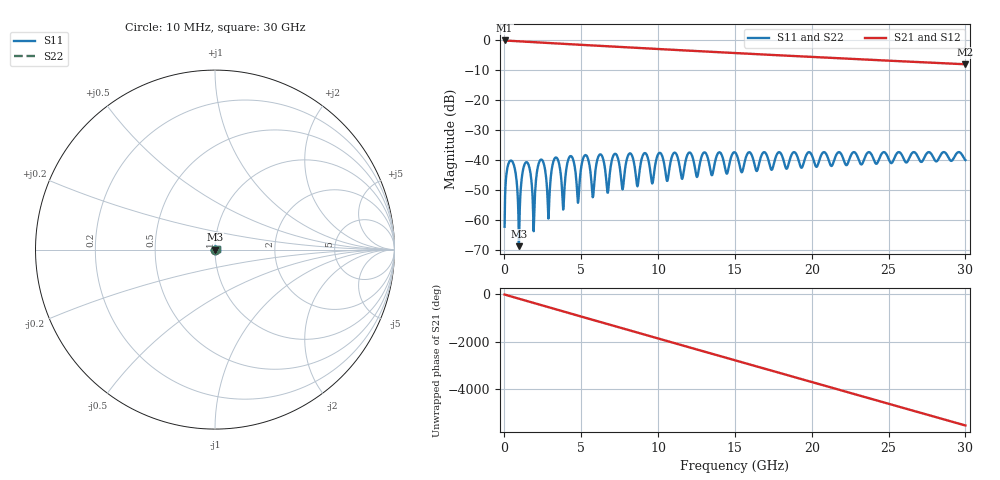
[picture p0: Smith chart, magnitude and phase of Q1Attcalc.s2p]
! Touchstone generated by fitter/viewer
# HZ S  RI R 5.000000e+001
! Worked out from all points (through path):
!   1000 points, 10 MHz to 30 GHz, reference 50 ohm
!   highest |S21| = 0.00 dB at 10 MHz (marker M1); lowest = -8.0 dB at 30 GHz (marker M2)
!   group delay of S21, straight-line fit = 515 ps
!   lowest |S11| = -68.8 dB at 940.6 MHz (marker M3), VSWR 1.00, Z = 50 + j0.0311 ohm
!   |S11| at or under -10 dB: start of sweep to end of sweep
!   |S22| runs from -68.8 to -37.3 dB; largest |S21 - S12| = 0
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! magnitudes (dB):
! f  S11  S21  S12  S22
! 10 MHz  -62.3  0.0  0.0  -62.3
! 400.3 MHz  -40.2  -0.1  -0.1  -40.2
! 940.6 MHz  -68.8  -0.3  -0.3  -68.8
! 1.391 GHz  -40.8  -0.4  -0.4  -40.8
! 1.901 GHz  -63.8  -0.6  -0.6  -63.8
! 2.352 GHz  -39.9  -0.7  -0.7  -39.9
! 2.862 GHz  -59.5  -0.9  -0.9  -59.5
! 3.312 GHz  -39.2  -1.0  -1.0  -39.2
! 3.823 GHz  -56.5  -1.1  -1.1  -56.5
! 4.243 GHz  -38.9  -1.3  -1.3  -38.9
! 4.783 GHz  -54.3  -1.4  -1.4  -54.3
! 5.023 GHz  -41.5  -1.5  -1.5  -41.5
! 7.695 GHz  -49.8  -2.2  -2.2  -49.8
! 8.175 GHz  -37.8  -2.4  -2.4  -37.8
! 8.656 GHz  -48.8  -2.5  -2.5  -48.8
! 9.136 GHz  -37.7  -2.6  -2.6  -37.7
! 9.616 GHz  -47.8  -2.8  -2.8  -47.8
! 10.01 GHz  -38.0  -2.9  -2.9  -38.0
! 15.02 GHz  -37.5  -4.2  -4.2  -37.5
! 20.03 GHz  -38.7  -5.5  -5.5  -38.7
! 25.02 GHz  -39.8  -6.8  -6.8  -39.8
! 30 GHz  -40.0  -8.0  -8.0  -40.0
